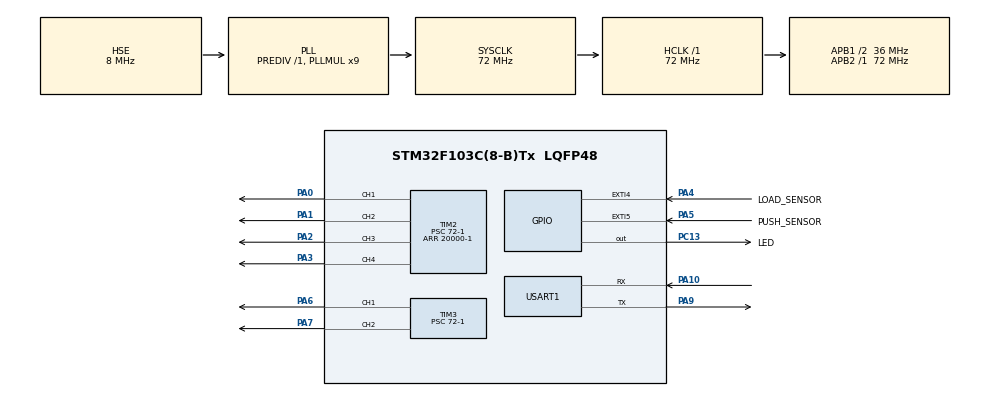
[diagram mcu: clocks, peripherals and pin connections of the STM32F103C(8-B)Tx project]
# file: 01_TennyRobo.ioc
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Mcu.Family=STM32F1
Mcu.Name=STM32F103C(8-B)Tx
Mcu.Package=LQFP48
NVIC.EXTI4_IRQn=true\:0\:0\:false\:false\:true\:true\:true\:true
NVIC.EXTI9_5_IRQn=true\:0\:0\:false\:false\:true\:true\:true\:true
NVIC.PriorityGroup=NVIC_PRIORITYGROUP_4
NVIC.TIM2_IRQn=true\:0\:0\:false\:false\:true\:true\:true\:true
NVIC.TIM3_IRQn=true\:0\:0\:false\:false\:true\:true\:true\:true
NVIC.USART1_IRQn=true\:0\:0\:false\:false\:true\:true\:true\:true
PA0-WKUP.Signal=S_TIM2_CH1_ETR
PA1.Signal=S_TIM2_CH2
PA10.Mode=Asynchronous
PA10.Signal=USART1_RX
PA13.Mode=Serial_Wire
PA13.Signal=SYS_JTMS-SWDIO
PA14.Mode=Serial_Wire
PA14.Signal=SYS_JTCK-SWCLK
PA2.Signal=S_TIM2_CH3
PA3.Signal=S_TIM2_CH4
PA4.GPIO_Label=LOAD_SENSOR
PA4.GPIO_ModeDefaultEXTI=GPIO_MODE_IT_FALLING
PA4.Signal=GPXTI4
PA5.GPIO_Label=PUSH_SENSOR
PA5.GPIO_ModeDefaultEXTI=GPIO_MODE_IT_FALLING
PA5.Signal=GPXTI5
PA6.Signal=S_TIM3_CH1
PA7.Signal=S_TIM3_CH2
PA9.Mode=Asynchronous
PA9.Signal=USART1_TX
PC13-TAMPER-RTC.GPIO_Label=LED
PC13-TAMPER-RTC.Signal=GPIO_Output
PD0-OSC_IN.Mode=HSE-External-Oscillator
PD0-OSC_IN.Signal=RCC_OSC_IN
PD1-OSC_OUT.Mode=HSE-External-Oscillator
PD1-OSC_OUT.Signal=RCC_OSC_OUT
ProjectManager.HeapSize=0x400
ProjectManager.StackSize=0x800
ProjectManager.TargetToolchain=STM32CubeIDE
RCC.AHBFreq_Value=72000000
RCC.APB1CLKDivider=RCC_HCLK_DIV2
RCC.APB1Freq_Value=36000000
RCC.APB1TimFreq_Value=72000000
RCC.APB2Freq_Value=72000000
RCC.APB2TimFreq_Value=72000000
RCC.HCLKFreq_Value=72000000
RCC.PLLMUL=RCC_PLL_MUL9
RCC.PLLSourceVirtual=RCC_PLLSOURCE_HSE
RCC.SYSCLKFreq_VALUE=72000000
RCC.SYSCLKSource=RCC_SYSCLKSOURCE_PLLCLK
RCC.USBFreq_Value=72000000
SH.S_TIM2_CH1_ETR.0=TIM2_CH1,PWM Generation1 CH1
SH.S_TIM2_CH2.0=TIM2_CH2,PWM Generation2 CH2
SH.S_TIM2_CH3.0=TIM2_CH3,PWM Generation3 CH3
SH.S_TIM2_CH4.0=TIM2_CH4,PWM Generation4 CH4
SH.S_TIM3_CH1.0=TIM3_CH1,PWM Generation1 CH1
SH.S_TIM3_CH2.0=TIM3_CH2,PWM Generation2 CH2
TIM2.Channel-PWM\ Generation1\ CH1=TIM_CHANNEL_1
TIM2.Channel-PWM\ Generation2\ CH2=TIM_CHANNEL_2
TIM2.Channel-PWM\ Generation3\ CH3=TIM_CHANNEL_3
TIM2.Channel-PWM\ Generation4\ CH4=TIM_CHANNEL_4
TIM2.Period=20000-1
TIM2.Prescaler=72-1
TIM3.Channel-PWM\ Generation1\ CH1=TIM_CHANNEL_1
TIM3.Channel-PWM\ Generation2\ CH2=TIM_CHANNEL_2
TIM3.Period=20000-1
TIM3.Prescaler=72-1
USART1.VirtualMode=VM_ASYNC
VP_TIM2_VS_ClockSourceINT.Mode=Internal
VP_TIM3_VS_ClockSourceINT.Mode=Internal
board=custom

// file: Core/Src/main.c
/* USER CODE BEGIN Header */
/**
  ******************************************************************************
  * @file           : main.c
  * @brief          : Main program body
  ******************************************************************************
  * @attention
  *
  * Copyright (c) 2023 STMicroelectronics.
  * All rights reserved.
  *
  * This software is licensed under terms that can be found in the LICENSE file
  * in the root directory of this software component.
  * If no LICENSE file comes with this software, it is provided AS-IS.
  *
  ******************************************************************************
  */
/* USER CODE END Header */
#include "main.h"

/* USER CODE BEGIN Includes */
#include <stdio.h>
#include <string.h>
#include <stdbool.h>
#include<stdlib.h>
#include <time.h>
/* USER CODE END Includes */

/* USER CODE BEGIN PTD */
typedef struct ServoMotor{
	uint16_t curValue;
	uint16_t trgValue;
	uint8_t increment;
	uint16_t min;
	uint16_t max;
	uint16_t initValue;
	uint8_t chanel;
} ServoMotor;
typedef struct PushParams{
	int8_t spin;	//уровень spin-а (т.к. ведущий - верхний двигатель, то отриц значения - topSpin, положительные - botSpin
	uint16_t speedFrom;	// начальная скорость верхнего (ведущего) двигателя
	uint16_t speedTo;	// предельная (максимальная) скорость верхнего (ведущего) двигателя
	bool inGame;	// участвует ли данная настройка выстрела в игре

} PushParams;

/* USER CODE END PTD */

TIM_HandleTypeDef htim2;
TIM_HandleTypeDef htim3;

UART_HandleTypeDef huart1;

/* USER CODE BEGIN PV */
// Принимаемая строка, содержащая параметры инфраструктуры
uint8_t receivedStr={0};
//отправляемая строка, содержащая параметры инфраструктуры
char trStr[60]={0};

uint16_t time_ = 1000;
uint16_t time_min = 600;
uint16_t time_max = 3000;
uint16_t speed_limit = 1250;
uint16_t speed_min = 800;
uint16_t speed_max = 2300;
uint16_t angle_min = 900;
uint16_t angle_max = 2100;
uint16_t position_min = 1280;
uint16_t position_max = 1490;
uint16_t loader_up = 1280;
uint16_t loader_down = 500;
uint16_t mixer_min = 400;
uint16_t mixer_max = 2400;
uint16_t start_speed = 850;
uint16_t start_angle = 1400;
uint16_t start_position = 1370;
volatile bool loader_redy = false;
volatile uint16_t timer_interupt_count;
volatile uint16_t period;
volatile bool infIsInetialized = false;
volatile int tmpInfValue = 0;
volatile uint8_t loader_timeout = 0;
volatile uint8_t mixer_end_point = 5;
volatile long int random_value;
volatile PushParams currPreset = {};
volatile bool permit = false;
PushParams infParams[9] = {
		  {890,950,-4,false},
		  {890,950,-3,false},
		  {890,950,-2,false},
		  {890,950,-1,false},
		  {890,950,0,true},
		  {890,950,1,false},
		  {890,950,2,false},
		  {890,950,3,false},
		  {890,950,4,false}
};
volatile PushParams currModifiedItem = {};
volatile bool isSettingsMode = false;

struct ServoMotor MotorTop;
struct ServoMotor MotorBottom;
struct ServoMotor Angle;
struct ServoMotor Position;
struct ServoMotor Loader;	//механизм подачи мячей
struct ServoMotor TopBallsMixer; //перемешиватель мячей в чаше пушки

/* USER CODE END PV */

void SystemClock_Config(void);
static void MX_GPIO_Init(void);
static void MX_TIM2_Init(void);
static void MX_USART1_UART_Init(void);
static void MX_TIM3_Init(void);

/* USER CODE BEGIN 0 */
// Получить значение инкремента исходя из скорости подачи мячей (времени между выстрелами)
uint8_t getIncrement(struct ServoMotor *srv){
	return (srv->max - srv->min)*20/(time_ - 100) + 1;
}

//Сделать шаг для инфрастуктуры согласно текущему и целевому значениям и значению инкремента (плавно повернуть серво или сменить скорость двигателя)
void incrementValue(struct ServoMotor *srv, TIM_HandleTypeDef htim){
	if(srv->trgValue == srv->curValue)return;	// Скорость/угол уже установлены
	if(srv->trgValue < srv->min) srv->trgValue = srv->min;	//защита от утановки значения, меньшего, чем минимальнодопустимое для данного серво
	if(srv->trgValue > srv->max) srv->trgValue = srv->max;	//защита от установки значения, большего, чем максимально допустимое для данного серво
	if(srv->curValue < srv->trgValue)	// Необходимо увеличить скорость/угол
	{
		srv->curValue += srv->increment;
		if(srv->curValue > srv->trgValue){
			srv->curValue = srv->trgValue;	//если произошел чрезмерный сдвиг, то устанавливаем текущее значение == целевому
		}
		__HAL_TIM_SetCompare(&htim, srv->chanel, srv->curValue);
		return;
	}
	//Необходимо уменьшать скорость/угол
	srv->curValue -= srv->increment;
	if(srv->curValue < srv->trgValue) {
		srv->curValue = srv->trgValue;	//если произошел чрезмерный сдвиг, то устанавливаем текущее значение == целевому
	}
	__HAL_TIM_SetCompare(&htim, srv->chanel, srv->curValue);	//устанавливаем скважность импульсов pwm
}

//Установка основных параметров инфраструктуры
void initServo(struct ServoMotor *srv,uint16_t min,uint16_t max,uint16_t initValue,uint8_t chanel){
	srv->initValue = initValue;
	srv->curValue = initValue + 1;
	srv->trgValue = initValue;
	srv->min = min;
	srv->max = max;
	if(srv == &TopBallsMixer) srv->increment = 30;
	else if(srv == &Position) srv->increment = 10;
	else srv->increment = getIncrement(srv);
	srv->chanel = chanel;
}

//Установить новое значение инкремента для инфраструктуры
void changeIncrement(){
	MotorTop.increment = getIncrement(&MotorTop);
	MotorBottom.increment = getIncrement(&MotorBottom);
	Angle.increment = getIncrement(&Angle);
	//Position.increment = getIncrement(&Position);
	//TopBallsMixer.increment = 10;
	period = time_ / 10;//НЕОБХОДИМО РАЗОБРАТЬСЯ ПОЧЕМУ ВЫЧИСЛЯЕТСЯ НЕПРАВИЛЬНОЕ ВРЕМЯ - РАСЧЕТНОЕ ЗНАЧЕНИЕ 20, НО ПРИ НЕМ РАССТОЯНИЕ МЕЖДУ ВЫСТРЕЛАМИ В 2 РАЗА МЕНЬШЕ
}

//Установить первоначальные значения параметров инфраструктуры (min,max,cur)
void initInfrastructure(){
	initServo(&MotorTop,start_speed,/*speed_max*/speed_limit, start_speed,TIM_CHANNEL_1);
	initServo(&MotorBottom,start_speed,/*speed_max*/speed_limit, start_speed,TIM_CHANNEL_2);
	initServo(&Angle,angle_min,angle_max,start_angle,TIM_CHANNEL_3);
	initServo(&Position,position_min,position_max,start_position,TIM_CHANNEL_4);
	initServo(&TopBallsMixer,mixer_min,mixer_max,mixer_min,TIM_CHANNEL_2);
}

//Поднять загрузчик мячей и взять мяч из лотка
void loaderUp(){
	__HAL_TIM_SetCompare(&htim3, TIM_CHANNEL_1, loader_up);
}

//Опустить загрузчик мячей для сброса мяча в пушку
void loaderDown(){
	__HAL_TIM_SetCompare(&htim3, TIM_CHANNEL_1, loader_down);
}

//Установить значения целевых параметров инфраструктуры согласно полученным с android параметрам
void setInfValue(char endSymbol){
	switch (endSymbol){
//	case 'm': MotorTop.trgValue = tmpInfValue; break;	//УСТАНАВЛ�?ВАЕМ СКОРОСТЬ ПЕРВОГО ДВ�?ГАТЕЛЯ
//	case 'n': MotorBottom.trgValue = tmpInfValue; break;	//УСТАНАВЛ�?ВАЕМ СКОРОСТЬ ВТОРОГО ДВ�?ГАТЕЛЯ
	case 'a': Angle.trgValue = tmpInfValue; break;	//УСТАНАВЛ�?ВАЕМ УГОЛ SPIN-a
	case 'p': Position.trgValue = tmpInfValue; break;	//УСТАНАВЛ�?ВАЕМ ПОВОРОТ РОБОТА ВЛЕВО/ВПРАВО
	case 'x' : {
		currModifiedItem.speedFrom = tmpInfValue;
		MotorTop.trgValue = tmpInfValue;
		MotorBottom.trgValue = tmpInfValue + currModifiedItem.spin * 30;
		break;
	}
	case 'y': {
		currModifiedItem.speedTo = tmpInfValue;
		MotorTop.trgValue = tmpInfValue;
		MotorBottom.trgValue = tmpInfValue + currModifiedItem.spin * 30;
		break;
	}
	case 'u': {
		currModifiedItem.inGame = tmpInfValue == 1;
	}
	case 'b': {
		permit = tmpInfValue == 1;
	}
	default: break;
	}
	tmpInfValue = 0;
}

//Получить отправляемую строку, содеражщую параметры инфраструктуры
void getTransStr(uint8_t quarySymbol){
	if(quarySymbol == 'l'){}
	switch (quarySymbol){
	case 'l':
		memset(trStr, 0, strlen(trStr));//очищаем строку перед заполнением
		sprintf(trStr,"%s%d%c%d%s%d%c%d%s%d%c%d%s%d%c%d%s%d%c%d%c",
				"r:",-4,':',4,"|x:",850,':',970,
				"|a:",Angle.min,':',Angle.max,"|p:",Position.min,':',Position.max,"|t:",time_min,':',time_max,'e');
		break;
	case 'g':
	case 'r':
	case 'i':
		memset(trStr, 0, strlen(trStr));//очищаем строку перед заполнением
		sprintf(trStr,"%s%d%s%d%s%d%s%d%s%d%s%d%c",
				"x:",currModifiedItem.speedFrom,"|y:",currModifiedItem.speedTo,
				"|u:",currModifiedItem.inGame ? 1 : 0,
				"|a:",Angle.curValue,"|p:",Position.curValue,"|t:",time_,'e');
		break;
	}
}

//Настройка минимальной и максимальной частот вращения двигателей
void motorsInitialization(){
	HAL_Delay(1000);
	__HAL_TIM_SetCompare(&htim2, TIM_CHANNEL_1, speed_max);
	__HAL_TIM_SetCompare(&htim2, TIM_CHANNEL_2, speed_max);
	HAL_Delay(2000);
	__HAL_TIM_SetCompare(&htim2, TIM_CHANNEL_1, speed_min);
	__HAL_TIM_SetCompare(&htim2, TIM_CHANNEL_2, speed_min);
	HAL_Delay(4000);
}

void UART1_RxCpltCallback(void){
	uint8_t b;
	b = receivedStr;
	if(b =='l' || b=='g' || b=='m' || b=='n' || b=='a' || b=='p' || b=='b' || b=='t'
			|| b=='r'|| b=='u'|| b=='i'|| b=='w'|| b=='x'|| b=='y'|| b=='c'){
		switch (b) {
			case 'l':
			case 'g':
				getTransStr(b);
				HAL_UART_Transmit(&huart1, (uint8_t*)trStr, strlen(trStr),0x1000);
				tmpInfValue = 0;
				break;
			case 'r':
				currModifiedItem = infParams[tmpInfValue + 4];
				getTransStr(b);
				HAL_UART_Transmit(&huart1, (uint8_t*)trStr, strlen(trStr),0x1000);
				tmpInfValue = 0;
				break;
//			case 'b': HAL_GPIO_TogglePin(GPIOC, GPIO_PIN_13);
//						permit = !permit;
//				//timer_interupt_count = period - 2; //Через 2*20мс прерывание TIM2 обработает нажатие кнопки и опустит, а потом поднимет лопатку loader-а
////				timer_interupt_count = 0; //сбрасываем счетчик прерываний, считающий время до следующего выстрела
////				loaderDown(); //�?нициализация выстрела. Далее сработает прерывание от датчика выстрела и лопатка вернется в верхнее положение
//				tmpInfValue = 0;
//				break;
			case 't': time_ = tmpInfValue; tmpInfValue = 0; changeIncrement();
			case 'c': infParams[currModifiedItem.spin + 4] = currModifiedItem;
			case 'w': isSettingsMode = tmpInfValue == 1;
			case 'u': currModifiedItem.inGame = tmpInfValue == 1;
			default: setInfValue(b); break;
		}

		HAL_UART_Receive_IT(&huart1,&receivedStr,1);
		return;
	}
	tmpInfValue = 10*tmpInfValue + (b - '0');
	HAL_UART_Receive_IT(&huart1,&receivedStr,1);
}

void loaderServoInteruptHandler(){
	if(timer_interupt_count >= period){
		if(
				HAL_GPIO_ReadPin(GPIOA, LOAD_SENSOR_Pin) == GPIO_PIN_RESET && permit
				/*&&
				(MotorTop.curValue > MotorTop.min || MotorBottom.curValue > MotorBottom.min)*/
				){	//Не обрабатываем прерывания до тех пор пока не запустится хотябы один из двигателей
			loaderDown();
			timer_interupt_count = 0; //сбрасываем счетчик прерываний, чтоб начать заново отчет времени до следующего выстрела
			loader_timeout = 10;
		}
		//else timer_interupt_count = period;//Если мяч не упал в загрузчик мячей, то ждем до следующего прерывания таймера (20мС)
	}

	if(loader_timeout != 0){
		if(--loader_timeout == 1){
			loaderUp();
			loader_timeout = 0;

			if(!isSettingsMode){	//Если это рабочий режим
				/////////Генерация случайного числа (надо заменить time(0) на значение из АЦП)
					srand(HAL_GetTick()); random_value = random();
				////////инициализация новыми значениями всей инфраструктуры
					currPreset = infParams[random_value % (sizeof(infParams)/6)];//инициализируем рандомное значение пресета настроек двигатетелй
					srand(HAL_GetTick()); random_value = random();
					uint16_t topSpeed = currPreset.speedFrom + random_value%((currPreset.speedFrom-currPreset.speedTo)/10 + 1)*10;
					MotorTop.trgValue = topSpeed;
					MotorBottom.trgValue = topSpeed + currPreset.spin*30;
					srand(HAL_GetTick()+random_value); random_value = random();
					Angle.trgValue = Angle.min + (random_value % (Angle.max - Angle.min));
					srand(HAL_GetTick()*3); random_value = random();
					Position.trgValue = Position.min + (random_value % 7)*30;
			}
			else{	//Если это режим настроек
				//Установка всех параметров будет происходить с android приложения
			}

		}
	}
}

void ballsMixerInteruptHandler(){
	if(TopBallsMixer.curValue == TopBallsMixer.min) {
		if(mixer_end_point-- == 0){
    		TopBallsMixer.trgValue = TopBallsMixer.max;
    		mixer_end_point = 10;
		}
	}

	if(TopBallsMixer.curValue == TopBallsMixer.max) {
		if(mixer_end_point-- == 0){
    		TopBallsMixer.trgValue = TopBallsMixer.min;
    		mixer_end_point = 10;
		}
	}
}

void HAL_TIM_PeriodElapsedCallback(TIM_HandleTypeDef *htim)
{
    if (infIsInetialized && htim == &htim2)
    {
    	incrementValue(&MotorTop, htim2);
    	incrementValue(&MotorBottom, htim2);
    	incrementValue(&Angle, htim2);
    	incrementValue(&Position, htim2);

    	incrementValue(&TopBallsMixer, htim3);

    	ballsMixerInteruptHandler();
    	loaderServoInteruptHandler();

    	timer_interupt_count++;
    }
}

void HAL_GPIO_EXTI_Callback(uint16_t GPIO_Pin)
{
	//Закомментировал обработчик, тк. перевел обработку прерывания и движение лопатки загрузчика в обработчик прерываний TIM2
//	if(GPIO_Pin== LOAD_SENSOR_Pin) {
//		loader_redy = true;
//	}
//	if(GPIO_Pin== PUSH_SENSOR_Pin && loader_redy == true)
//	{
//		loader_redy = false;
//		loaderUp();
//	}
}
/* USER CODE END 0 */

int main(void)
{
  /* USER CODE BEGIN 1 */
	currModifiedItem = infParams[4];
  /* USER CODE END 1 */

  /* MCU Configuration--------------------------------------------------------*/

  /* Reset of all peripherals, Initializes the Flash interface and the Systick. */
  HAL_Init();

  /* Configure the system clock */
  SystemClock_Config();

  /* Initialize all configured peripherals */
  MX_GPIO_Init();
  MX_TIM2_Init();
  MX_USART1_UART_Init();
  MX_TIM3_Init();
  /* USER CODE BEGIN 2 */
  HAL_UART_Receive_IT(&huart1, &receivedStr,1);
  HAL_TIM_Base_Start_IT(&htim2);
  HAL_TIM_Base_Start_IT(&htim3);
  HAL_TIM_PWM_Start(&htim2, TIM_CHANNEL_1);
  HAL_TIM_PWM_Start(&htim2, TIM_CHANNEL_2);
  HAL_TIM_PWM_Start(&htim2, TIM_CHANNEL_3);
  HAL_TIM_PWM_Start(&htim2, TIM_CHANNEL_4);
  HAL_TIM_PWM_Start(&htim3, TIM_CHANNEL_1);
  HAL_TIM_PWM_Start(&htim3, TIM_CHANNEL_2);

  motorsInitialization();
  initInfrastructure();	//�?нициализируем инфраструктуру
  //НЕОБХОДИМО РАЗОБРАТЬСЯ ПОЧЕМУ ВЫЧИСЛЯЕТСЯ НЕПРАВИЛЬНОЕ ВРЕМЯ - РАСЧЕТНОЕ ЗНАЧЕНИЕ 20, НО ПРИ НЕМ РАССТОЯНИЕ МЕЖДУ ВЫСТРЕЛАМИ В 2 РАЗА МЕНЬШЕ
  period = time_ / 10;	//Устанавливаем первоначальное значение периода между выстрелами
  /* USER CODE END 2 */

  /* Infinite loop */
  /* USER CODE BEGIN WHILE */
  infIsInetialized = true;	//устанавливаем разрешение на обработку изменений состояний серво и моторов

  while (1)
  {
    /* USER CODE END WHILE */

  }
}

void SystemClock_Config(void)
{
  RCC_OscInitTypeDef RCC_OscInitStruct = {0};
  RCC_ClkInitTypeDef RCC_ClkInitStruct = {0};

  /** Initializes the RCC Oscillators according to the specified parameters
  * in the RCC_OscInitTypeDef structure.
  */
  RCC_OscInitStruct.OscillatorType = RCC_OSCILLATORTYPE_HSE;
  RCC_OscInitStruct.HSEState = RCC_HSE_ON;
  RCC_OscInitStruct.HSEPredivValue = RCC_HSE_PREDIV_DIV1;
  RCC_OscInitStruct.HSIState = RCC_HSI_ON;
  RCC_OscInitStruct.PLL.PLLState = RCC_PLL_ON;
  RCC_OscInitStruct.PLL.PLLSource = RCC_PLLSOURCE_HSE;
  RCC_OscInitStruct.PLL.PLLMUL = RCC_PLL_MUL9;
  if (HAL_RCC_OscConfig(&RCC_OscInitStruct) != HAL_OK)
  {
    Error_Handler();
  }

  /** Initializes the CPU, AHB and APB buses clocks
  */
  RCC_ClkInitStruct.ClockType = RCC_CLOCKTYPE_HCLK|RCC_CLOCKTYPE_SYSCLK
                              |RCC_CLOCKTYPE_PCLK1|RCC_CLOCKTYPE_PCLK2;
  RCC_ClkInitStruct.SYSCLKSource = RCC_SYSCLKSOURCE_PLLCLK;
  RCC_ClkInitStruct.AHBCLKDivider = RCC_SYSCLK_DIV1;
  RCC_ClkInitStruct.APB1CLKDivider = RCC_HCLK_DIV2;
  RCC_ClkInitStruct.APB2CLKDivider = RCC_HCLK_DIV1;

  if (HAL_RCC_ClockConfig(&RCC_ClkInitStruct, FLASH_LATENCY_2) != HAL_OK)
  {
    Error_Handler();
  }
}

static void MX_TIM2_Init(void)
{

  TIM_ClockConfigTypeDef sClockSourceConfig = {0};
  TIM_MasterConfigTypeDef sMasterConfig = {0};
  TIM_OC_InitTypeDef sConfigOC = {0};

  htim2.Instance = TIM2;
  htim2.Init.Prescaler = 72-1;
  htim2.Init.CounterMode = TIM_COUNTERMODE_UP;
  htim2.Init.Period = 20000-1;
  htim2.Init.ClockDivision = TIM_CLOCKDIVISION_DIV1;
  htim2.Init.AutoReloadPreload = TIM_AUTORELOAD_PRELOAD_DISABLE;
  if (HAL_TIM_Base_Init(&htim2) != HAL_OK)
  {
    Error_Handler();
  }
  sClockSourceConfig.ClockSource = TIM_CLOCKSOURCE_INTERNAL;
  if (HAL_TIM_ConfigClockSource(&htim2, &sClockSourceConfig) != HAL_OK)
  {
    Error_Handler();
  }
  if (HAL_TIM_PWM_Init(&htim2) != HAL_OK)
  {
    Error_Handler();
  }
  sMasterConfig.MasterOutputTrigger = TIM_TRGO_RESET;
  sMasterConfig.MasterSlaveMode = TIM_MASTERSLAVEMODE_DISABLE;
  if (HAL_TIMEx_MasterConfigSynchronization(&htim2, &sMasterConfig) != HAL_OK)
  {
    Error_Handler();
  }
  sConfigOC.OCMode = TIM_OCMODE_PWM1;
  sConfigOC.Pulse = 0;
  sConfigOC.OCPolarity = TIM_OCPOLARITY_HIGH;
  sConfigOC.OCFastMode = TIM_OCFAST_DISABLE;
  if (HAL_TIM_PWM_ConfigChannel(&htim2, &sConfigOC, TIM_CHANNEL_1) != HAL_OK)
  {
    Error_Handler();
  }
  if (HAL_TIM_PWM_ConfigChannel(&htim2, &sConfigOC, TIM_CHANNEL_2) != HAL_OK)
  {
    Error_Handler();
  }
  if (HAL_TIM_PWM_ConfigChannel(&htim2, &sConfigOC, TIM_CHANNEL_3) != HAL_OK)
  {
    Error_Handler();
  }
  if (HAL_TIM_PWM_ConfigChannel(&htim2, &sConfigOC, TIM_CHANNEL_4) != HAL_OK)
  {
    Error_Handler();
  }
  HAL_TIM_MspPostInit(&htim2);

}

static void MX_TIM3_Init(void)
{

  TIM_ClockConfigTypeDef sClockSourceConfig = {0};
  TIM_MasterConfigTypeDef sMasterConfig = {0};
  TIM_OC_InitTypeDef sConfigOC = {0};

  htim3.Instance = TIM3;
  htim3.Init.Prescaler = 72-1;
  htim3.Init.CounterMode = TIM_COUNTERMODE_UP;
  htim3.Init.Period = 20000-1;
  htim3.Init.ClockDivision = TIM_CLOCKDIVISION_DIV1;
  htim3.Init.AutoReloadPreload = TIM_AUTORELOAD_PRELOAD_DISABLE;
  if (HAL_TIM_Base_Init(&htim3) != HAL_OK)
  {
    Error_Handler();
  }
  sClockSourceConfig.ClockSource = TIM_CLOCKSOURCE_INTERNAL;
  if (HAL_TIM_ConfigClockSource(&htim3, &sClockSourceConfig) != HAL_OK)
  {
    Error_Handler();
  }
  if (HAL_TIM_PWM_Init(&htim3) != HAL_OK)
  {
    Error_Handler();
  }
  sMasterConfig.MasterOutputTrigger = TIM_TRGO_RESET;
  sMasterConfig.MasterSlaveMode = TIM_MASTERSLAVEMODE_DISABLE;
  if (HAL_TIMEx_MasterConfigSynchronization(&htim3, &sMasterConfig) != HAL_OK)
  {
    Error_Handler();
  }
  sConfigOC.OCMode = TIM_OCMODE_PWM1;
  sConfigOC.Pulse = 0;
  sConfigOC.OCPolarity = TIM_OCPOLARITY_HIGH;
  sConfigOC.OCFastMode = TIM_OCFAST_DISABLE;
  if (HAL_TIM_PWM_ConfigChannel(&htim3, &sConfigOC, TIM_CHANNEL_1) != HAL_OK)
  {
    Error_Handler();
  }
  if (HAL_TIM_PWM_ConfigChannel(&htim3, &sConfigOC, TIM_CHANNEL_2) != HAL_OK)
  {
    Error_Handler();
  }
  HAL_TIM_MspPostInit(&htim3);

}

static void MX_USART1_UART_Init(void)
{

  huart1.Instance = USART1;
  huart1.Init.BaudRate = 115200;
  huart1.Init.WordLength = UART_WORDLENGTH_8B;
  huart1.Init.StopBits = UART_STOPBITS_1;
  huart1.Init.Parity = UART_PARITY_NONE;
  huart1.Init.Mode = UART_MODE_TX_RX;
  huart1.Init.HwFlowCtl = UART_HWCONTROL_NONE;
  huart1.Init.OverSampling = UART_OVERSAMPLING_16;
  if (HAL_UART_Init(&huart1) != HAL_OK)
  {
    Error_Handler();
  }

}

static void MX_GPIO_Init(void)
{
  GPIO_InitTypeDef GPIO_InitStruct = {0};

  /* GPIO Ports Clock Enable */
  __HAL_RCC_GPIOC_CLK_ENABLE();
  __HAL_RCC_GPIOD_CLK_ENABLE();
  __HAL_RCC_GPIOA_CLK_ENABLE();

  /*Configure GPIO pin Output Level */
  HAL_GPIO_WritePin(LED_GPIO_Port, LED_Pin, GPIO_PIN_RESET);

  /*Configure GPIO pin : LED_Pin */
  GPIO_InitStruct.Pin = LED_Pin;
  GPIO_InitStruct.Mode = GPIO_MODE_OUTPUT_PP;
  GPIO_InitStruct.Pull = GPIO_NOPULL;
  GPIO_InitStruct.Speed = GPIO_SPEED_FREQ_LOW;
  HAL_GPIO_Init(LED_GPIO_Port, &GPIO_InitStruct);

  /*Configure GPIO pins : LOAD_SENSOR_Pin PUSH_SENSOR_Pin */
  GPIO_InitStruct.Pin = LOAD_SENSOR_Pin|PUSH_SENSOR_Pin;
  GPIO_InitStruct.Mode = GPIO_MODE_IT_FALLING;
  GPIO_InitStruct.Pull = GPIO_NOPULL;
  HAL_GPIO_Init(GPIOA, &GPIO_InitStruct);

  /* EXTI interrupt init*/
  HAL_NVIC_SetPriority(EXTI4_IRQn, 0, 0);
  HAL_NVIC_EnableIRQ(EXTI4_IRQn);

  HAL_NVIC_SetPriority(EXTI9_5_IRQn, 0, 0);
  HAL_NVIC_EnableIRQ(EXTI9_5_IRQn);

}

/* USER CODE BEGIN 4 */
void HAL_UART_RxCpltCallback(UART_HandleTypeDef *huart){
	if(huart==&huart1){
		UART1_RxCpltCallback();
	}
}

//void HAL_TIM_PeriodElapsedCallback(TIM_HandleTypeDef *htim){
//	if(htim==&htim2){
//		//HAL_UART_Transmit(&huart2,(uint8_t*)str2[i],strlen(str2[i]),0x1000);
//
//
//	}
//}
/* USER CODE END 4 */

void Error_Handler(void)
{
  __disable_irq();
  while (1)
  {
  }
}
